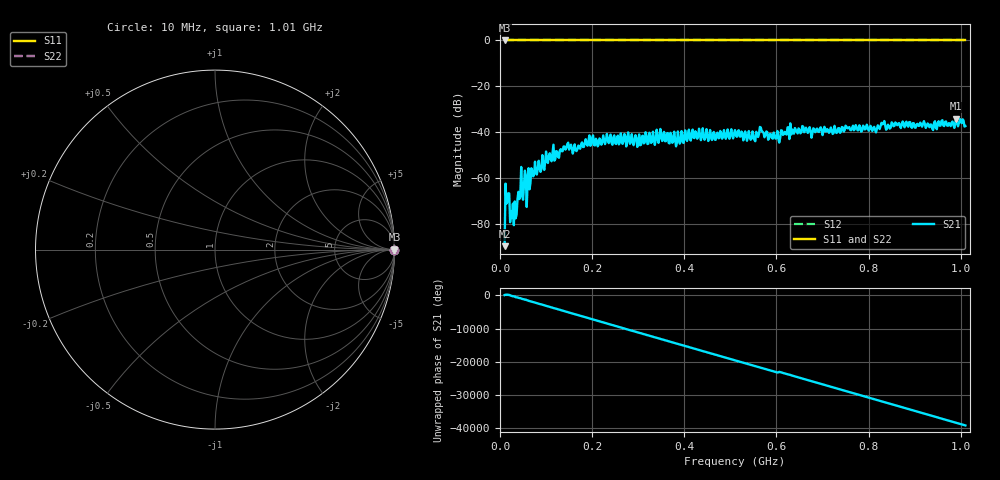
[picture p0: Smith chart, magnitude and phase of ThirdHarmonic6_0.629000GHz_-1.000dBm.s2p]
! 8/15/2025 8:44:59 PM
! C:\ANRITSUVNA\TEMP\TEMP.S2P
! CHANNEL.1
! TR.MEASUREMENT
! RAW.DATA
! RF.CORRECTION.OFF
! AVERAGING.OFF
! IF.BANDWIDTH: 5KHZ
! SWEEPTYPE:  FREQ.SWEEP(Linear)
! Reference Plane Port Info
! PORT:  PORT1  PORT2
! DISTANCE:  0  m  0  m
! TIME:  0  s  0  s
! PHASE.OFFSET:  0  deg.  0  deg.
! LOSS:  0  dB  0  dB
! REF.LOSS:  0  dB  0  dB
! REF.FREQ:  0  Hz  0  Hz
! Power Info
! POWER:  -20  dBm  -20  dBm
! EFF.POWER:  -20  dBm  -20  dBm
! SOURCE.ATTEN:  0  dB  0  dB
! TEST.ATTEN:  0  dB  0  dB
# GHZ S RI R 50.0
! FREQ.GHZ  S11RE  S11IM  S21RE  S21IM  S12RE  S12IM  S22RE  S22IM
!; PortSelection: Port_12
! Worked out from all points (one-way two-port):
!   501 points, 10 MHz to 1.01 GHz, reference 50 ohm
!   highest |S21| = -34.07 dB at 990 MHz (marker M1); lowest = -89.4 dB at 10 MHz (marker M2)
!   lowest |S11| = 0.0 dB at 10 MHz (marker M3)
!   |S11| at or under -10 dB: nowhere
!   |S22| runs from 0.0 to 0.0 dB; largest |S21 - S12| = 1
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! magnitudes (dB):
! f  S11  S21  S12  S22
! 10 MHz  0.0  -89.4  0.0  0.0
! 16 MHz  0.0  -70.0  0.0  0.0
! 26 MHz  0.0  -77.2  0.0  0.0
! 34 MHz  0.0  -77.3  0.0  0.0
! 42 MHz  0.0  -69.0  0.0  0.0
! 50 MHz  0.0  -69.2  0.0  0.0
! 62 MHz  0.0  -55.5  0.0  0.0
! 64 MHz  0.0  -64.7  0.0  0.0
! 72 MHz  0.0  -59.1  0.0  0.0
! 104 MHz  0.0  -53.3  0.0  0.0
! 144 MHz  0.0  -46.7  0.0  0.0
! 178 MHz  0.0  -44.3  0.0  0.0
! 198 MHz  0.0  -45.2  0.0  0.0
! 302 MHz  0.0  -40.9  0.0  0.0
! 344 MHz  0.0  -44.5  0.0  0.0
! 386 MHz  0.0  -39.6  0.0  0.0
! 420 MHz  0.0  -42.3  0.0  0.0
! 510 MHz  0.0  -39.0  0.0  0.0
! 678 MHz  0.0  -40.2  0.0  0.0
! 844 MHz  0.0  -37.2  0.0  0.0
! 990 MHz  0.0  -34.1  0.0  0.0
! 1.01 GHz  0.0  -37.2  0.0  0.0
